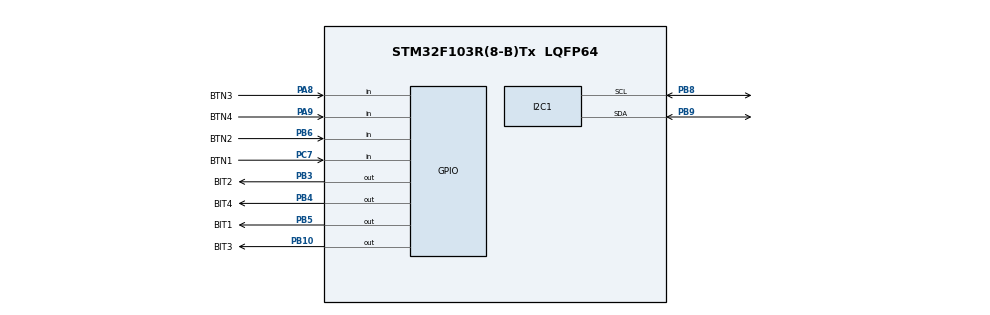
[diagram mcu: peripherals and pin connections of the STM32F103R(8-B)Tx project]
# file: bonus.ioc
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Mcu.Family=STM32F1
Mcu.Name=STM32F103R(8-B)Tx
Mcu.Package=LQFP64
NVIC.PriorityGroup=NVIC_PRIORITYGROUP_4
NVIC.TIM2_IRQn=true\:0\:0\:false\:false\:true\:true\:true
PA13.Mode=Serial_Wire
PA13.Signal=SYS_JTMS-SWDIO
PA14.Mode=Serial_Wire
PA14.Signal=SYS_JTCK-SWCLK
PA8.GPIO_Label=BTN3
PA8.GPIO_PuPd=GPIO_PULLUP
PA8.Signal=GPIO_Input
PA9.GPIO_Label=BTN4
PA9.GPIO_PuPd=GPIO_PULLUP
PA9.Signal=GPIO_Input
PB10.GPIO_Label=BIT3
PB10.Signal=GPIO_Output
PB3.GPIO_Label=BIT2
PB3.Signal=GPIO_Output
PB4.GPIO_Label=BIT4
PB4.Signal=GPIO_Output
PB5.GPIO_Label=BIT1
PB5.Signal=GPIO_Output
PB6.GPIO_Label=BTN2
PB6.GPIO_PuPd=GPIO_PULLUP
PB6.Signal=GPIO_Input
PB8.Mode=I2C
PB8.Signal=I2C1_SCL
PB9.Mode=I2C
PB9.Signal=I2C1_SDA
PC7.GPIO_Label=BTN1
PC7.GPIO_PuPd=GPIO_PULLUP
PC7.Signal=GPIO_Input
ProjectManager.HeapSize=0x200
ProjectManager.StackSize=0x400
ProjectManager.TargetToolchain=STM32CubeIDE
RCC.APB1Freq_Value=8000000
RCC.APB2Freq_Value=8000000
TIM2.Period=9
TIM2.Prescaler=7999
VP_TIM2_VS_ClockSourceINT.Mode=Internal
board=custom

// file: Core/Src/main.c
/* USER CODE BEGIN Header */
/**
  ******************************************************************************
  * @file           : main.c
  * @brief          : Main program body
  ******************************************************************************
  * @attention
  *
  * <h2><center>&copy; Copyright (c) 2025 STMicroelectronics.
  * All rights reserved.</center></h2>
  *
  * This software component is licensed by ST under BSD 3-Clause license,
  * the "License"; You may not use this file except in compliance with the
  * License. You may obtain a copy of the License at:
  *                        opensource.org/licenses/BSD-3-Clause
  *
  ******************************************************************************
  */
/* USER CODE END Header */
#include "main.h"

/* USER CODE BEGIN Includes */
#include "button.h"
#include "fsm_traffic_light.h"
#include "global.h"
#include "software_timer.h"
#include "sched.h"
#include "i2c-lcd.h"
/* USER CODE END Includes */

I2C_HandleTypeDef hi2c1;

TIM_HandleTypeDef htim2;

void SystemClock_Config(void);
static void MX_GPIO_Init(void);
static void MX_I2C1_Init(void);
static void MX_TIM2_Init(void);

/* USER CODE BEGIN 0 */
void toggleRed(){
	//HAL_GPIO_TogglePin(BIT1_GPIO_Port, BIT1_Pin);
}

void toggleYellow(){
	//HAL_GPIO_TogglePin(BIT2_GPIO_Port, BIT2_Pin);
}

void toggleGreen(){
	//HAL_GPIO_TogglePin(G1_GPIO_Port, G1_Pin);
}

void toggleBlue(){
	//HAL_GPIO_TogglePin(R2_GPIO_Port, R2_Pin);
}

/* USER CODE END 0 */

int main(void)
{

  /* MCU Configuration--------------------------------------------------------*/

  /* Reset of all peripherals, Initializes the Flash interface and the Systick. */
  HAL_Init();

  /* Configure the system clock */
  SystemClock_Config();

  /* Initialize all configured peripherals */
  MX_GPIO_Init();
  MX_I2C1_Init();
  MX_TIM2_Init();
  /* USER CODE BEGIN 2 */
  HAL_TIM_Base_Start_IT (& htim2);
  lcd_init();
  lcd_clear_display();
  lcd_goto_XY(0, 0);
  lcd_send_string(" Xin chao VXL");
  lcd_goto_XY(1, 0);
  lcd_send_string(" Vi xu ly");
//	  SCH_INIT();
//	        SCH_Add_Task(timerRun,5,1);
//	        SCH_Add_Task(getKeyInput,10,1);
//	        setTime();
//        SCH_Add_Task(toggleRed,4,100);
//        SCH_Add_Task(toggleYellow,3,100);
//        SCH_Add_Task(toggleGreen,1,100);
//        SCH_Add_Task(toggleButton1, 50, 0);
//        SCH_Add_Task(toggleButton1, 51, 0);
//        SCH_Add_Task(toggleButton1, 52, 0);
//      SCH_Add_Task(toggleButton3, 500, 500);

  /* USER CODE END 2 */

  /* Infinite loop */
  while (1)
  {

    /* USER CODE BEGIN 3 */
//	  SCH_Dispatcher();
	  fsm_traffic_light();
	  updateLCD();
//	  fsm_perdes();
  }
  /* USER CODE END 3 */
}

void SystemClock_Config(void)
{
  RCC_OscInitTypeDef RCC_OscInitStruct = {0};
  RCC_ClkInitTypeDef RCC_ClkInitStruct = {0};

  /** Initializes the RCC Oscillators according to the specified parameters
  * in the RCC_OscInitTypeDef structure.
  */
  RCC_OscInitStruct.OscillatorType = RCC_OSCILLATORTYPE_HSI;
  RCC_OscInitStruct.HSIState = RCC_HSI_ON;
  RCC_OscInitStruct.HSICalibrationValue = RCC_HSICALIBRATION_DEFAULT;
  RCC_OscInitStruct.PLL.PLLState = RCC_PLL_NONE;
  if (HAL_RCC_OscConfig(&RCC_OscInitStruct) != HAL_OK)
  {
    Error_Handler();
  }
  /** Initializes the CPU, AHB and APB buses clocks
  */
  RCC_ClkInitStruct.ClockType = RCC_CLOCKTYPE_HCLK|RCC_CLOCKTYPE_SYSCLK
                              |RCC_CLOCKTYPE_PCLK1|RCC_CLOCKTYPE_PCLK2;
  RCC_ClkInitStruct.SYSCLKSource = RCC_SYSCLKSOURCE_HSI;
  RCC_ClkInitStruct.AHBCLKDivider = RCC_SYSCLK_DIV1;
  RCC_ClkInitStruct.APB1CLKDivider = RCC_HCLK_DIV1;
  RCC_ClkInitStruct.APB2CLKDivider = RCC_HCLK_DIV1;

  if (HAL_RCC_ClockConfig(&RCC_ClkInitStruct, FLASH_LATENCY_0) != HAL_OK)
  {
    Error_Handler();
  }
}

static void MX_I2C1_Init(void)
{

  hi2c1.Instance = I2C1;
  hi2c1.Init.ClockSpeed = 100000;
  hi2c1.Init.DutyCycle = I2C_DUTYCYCLE_2;
  hi2c1.Init.OwnAddress1 = 0;
  hi2c1.Init.AddressingMode = I2C_ADDRESSINGMODE_7BIT;
  hi2c1.Init.DualAddressMode = I2C_DUALADDRESS_DISABLE;
  hi2c1.Init.OwnAddress2 = 0;
  hi2c1.Init.GeneralCallMode = I2C_GENERALCALL_DISABLE;
  hi2c1.Init.NoStretchMode = I2C_NOSTRETCH_DISABLE;
  if (HAL_I2C_Init(&hi2c1) != HAL_OK)
  {
    Error_Handler();
  }

}

static void MX_TIM2_Init(void)
{

  TIM_ClockConfigTypeDef sClockSourceConfig = {0};
  TIM_MasterConfigTypeDef sMasterConfig = {0};

  htim2.Instance = TIM2;
  htim2.Init.Prescaler = 7999;
  htim2.Init.CounterMode = TIM_COUNTERMODE_UP;
  htim2.Init.Period = 9;
  htim2.Init.ClockDivision = TIM_CLOCKDIVISION_DIV1;
  htim2.Init.AutoReloadPreload = TIM_AUTORELOAD_PRELOAD_DISABLE;
  if (HAL_TIM_Base_Init(&htim2) != HAL_OK)
  {
    Error_Handler();
  }
  sClockSourceConfig.ClockSource = TIM_CLOCKSOURCE_INTERNAL;
  if (HAL_TIM_ConfigClockSource(&htim2, &sClockSourceConfig) != HAL_OK)
  {
    Error_Handler();
  }
  sMasterConfig.MasterOutputTrigger = TIM_TRGO_RESET;
  sMasterConfig.MasterSlaveMode = TIM_MASTERSLAVEMODE_DISABLE;
  if (HAL_TIMEx_MasterConfigSynchronization(&htim2, &sMasterConfig) != HAL_OK)
  {
    Error_Handler();
  }

}

static void MX_GPIO_Init(void)
{
  GPIO_InitTypeDef GPIO_InitStruct = {0};

  /* GPIO Ports Clock Enable */
  __HAL_RCC_GPIOB_CLK_ENABLE();
  __HAL_RCC_GPIOC_CLK_ENABLE();
  __HAL_RCC_GPIOA_CLK_ENABLE();

  /*Configure GPIO pin Output Level */
  HAL_GPIO_WritePin(GPIOB, BIT3_Pin|BIT2_Pin|BIT4_Pin|BIT1_Pin, GPIO_PIN_RESET);

  /*Configure GPIO pins : BIT3_Pin BIT2_Pin BIT4_Pin BIT1_Pin */
  GPIO_InitStruct.Pin = BIT3_Pin|BIT2_Pin|BIT4_Pin|BIT1_Pin;
  GPIO_InitStruct.Mode = GPIO_MODE_OUTPUT_PP;
  GPIO_InitStruct.Pull = GPIO_NOPULL;
  GPIO_InitStruct.Speed = GPIO_SPEED_FREQ_LOW;
  HAL_GPIO_Init(GPIOB, &GPIO_InitStruct);

  /*Configure GPIO pin : BTN1_Pin */
  GPIO_InitStruct.Pin = BTN1_Pin;
  GPIO_InitStruct.Mode = GPIO_MODE_INPUT;
  GPIO_InitStruct.Pull = GPIO_PULLUP;
  HAL_GPIO_Init(BTN1_GPIO_Port, &GPIO_InitStruct);

  /*Configure GPIO pins : BTN3_Pin BTN4_Pin */
  GPIO_InitStruct.Pin = BTN3_Pin|BTN4_Pin;
  GPIO_InitStruct.Mode = GPIO_MODE_INPUT;
  GPIO_InitStruct.Pull = GPIO_PULLUP;
  HAL_GPIO_Init(GPIOA, &GPIO_InitStruct);

  /*Configure GPIO pin : BTN2_Pin */
  GPIO_InitStruct.Pin = BTN2_Pin;
  GPIO_InitStruct.Mode = GPIO_MODE_INPUT;
  GPIO_InitStruct.Pull = GPIO_PULLUP;
  HAL_GPIO_Init(BTN2_GPIO_Port, &GPIO_InitStruct);

}

/* USER CODE BEGIN 4 */
void HAL_TIM_PeriodElapsedCallback (TIM_HandleTypeDef * htim){
	timerRun();
	getKeyInput();
//	SCH_Update();
}
/* USER CODE END 4 */

void Error_Handler(void)
{
  __disable_irq();
  while (1)
  {
  }
}

/************************ (C) COPYRIGHT STMicroelectronics *****END OF FILE****/
